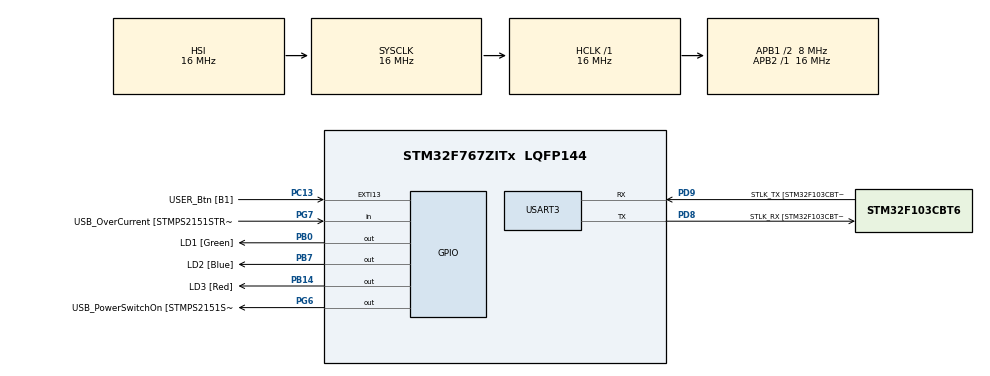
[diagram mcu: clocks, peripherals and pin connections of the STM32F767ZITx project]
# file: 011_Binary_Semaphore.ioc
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Mcu.Family=STM32F7
Mcu.Name=STM32F767ZITx
Mcu.Package=LQFP144
NVIC.PriorityGroup=NVIC_PRIORITYGROUP_4
NVIC.TIM6_DAC_IRQn=true\:15\:0\:false\:false\:true\:false\:true\:true
NVIC.TimeBase=TIM6_DAC_IRQn
NVIC.TimeBaseIP=TIM6
PA1.GPIO_Label=RMII_REF_CLK [LAN8742A-CZ-TR_REFCLK0]
PA1.Signal=ETH_REF_CLK
PA10.GPIO_Label=USB_ID
PA10.Signal=USB_OTG_FS_ID
PA11.GPIO_Label=USB_DM
PA11.Signal=USB_OTG_FS_DM
PA12.GPIO_Label=USB_DP
PA12.Signal=USB_OTG_FS_DP
PA13.GPIO_Label=TMS
PA13.Signal=SYS_JTMS-SWDIO
PA14.GPIO_Label=TCK
PA14.Signal=SYS_JTCK-SWCLK
PA2.GPIO_Label=RMII_MDIO [LAN8742A-CZ-TR_MDIO]
PA2.Signal=ETH_MDIO
PA7.GPIO_Label=RMII_CRS_DV [LAN8742A-CZ-TR_CRS_DV]
PA7.Signal=ETH_CRS_DV
PA8.GPIO_Label=USB_SOF [TP1]
PA8.Signal=USB_OTG_FS_SOF
PA9.GPIO_Label=USB_VBUS
PA9.Signal=USB_OTG_FS_VBUS
PB0.GPIO_Label=LD1 [Green]
PB0.Signal=GPIO_Output
PB13.GPIO_Label=RMII_TXD1 [LAN8742A-CZ-TR_TXD1]
PB13.Signal=ETH_TXD1
PB14.GPIO_Label=LD3 [Red]
PB14.Signal=GPIO_Output
PB3.GPIO_Label=SW0
PB3.Signal=SYS_JTDO-SWO
PB7.GPIO_Label=LD2 [Blue]
PB7.Signal=GPIO_Output
PC1.GPIO_Label=RMII_MDC [LAN8742A-CZ-TR_MDC]
PC1.Signal=ETH_MDC
PC13.GPIO_Label=USER_Btn [B1]
PC13.Signal=GPXTI13
PC14/OSC32_IN.Signal=RCC_OSC32_IN
PC15/OSC32_OUT.Signal=RCC_OSC32_OUT
PC4.GPIO_Label=RMII_RXD0 [LAN8742A-CZ-TR_RXD0]
PC4.Signal=ETH_RXD0
PC5.GPIO_Label=RMII_RXD1 [LAN8742A-CZ-TR_RXD1]
PC5.Signal=ETH_RXD1
PD8.GPIO_Label=STLK_RX [STM32F103CBT6_PA3]
PD8.Mode=Asynchronous
PD8.Signal=USART3_TX
PD9.GPIO_Label=STLK_TX [STM32F103CBT6_PA2]
PD9.Mode=Asynchronous
PD9.Signal=USART3_RX
PG11.GPIO_Label=RMII_TX_EN [LAN8742A-CZ-TR_TXEN]
PG11.Signal=ETH_TX_EN
PG13.GPIO_Label=RMII_TXD0 [LAN8742A-CZ-TR_TXD0]
PG13.Signal=ETH_TXD0
PG6.GPIO_Label=USB_PowerSwitchOn [STMPS2151STR_EN]
PG6.Signal=GPIO_Output
PG7.GPIO_Label=USB_OverCurrent [STMPS2151STR_FAULT]
PG7.Signal=GPIO_Input
PH0/OSC_IN.GPIO_Label=MCO [STM32F103CBT6_PA8]
PH0/OSC_IN.Signal=RCC_OSC_IN
PH1/OSC_OUT.Signal=RCC_OSC_OUT
ProjectManager.HeapSize=0x200
ProjectManager.StackSize=0x400
ProjectManager.TargetToolchain=STM32CubeIDE
RCC.48MHZClocksFreq_Value=24000000
RCC.AHBFreq_Value=16000000
RCC.APB1CLKDivider=RCC_HCLK_DIV2
RCC.APB1Freq_Value=8000000
RCC.APB1TimFreq_Value=16000000
RCC.APB2Freq_Value=16000000
RCC.APB2TimFreq_Value=16000000
RCC.CortexFreq_Value=16000000
RCC.HCLKFreq_Value=16000000
RCC.HSE_VALUE=16000000
RCC.HSI_VALUE=16000000
RCC.LSE_VALUE=32768
RCC.PLLMUL=RCC_PLL_MUL9
RCC.PRESCALERUSB=RCC_USBCLKSOURCE_PLL_DIV1_5
RCC.SYSCLKFreq_VALUE=16000000
RCC.SYSCLKSourceVirtual=RCC_SYSCLKSOURCE_PLLCLK
RCC.USBFreq_Value=96000000
RCC.VCOOutputFreq_Value=192000000
USART3.VirtualMode-Asynchronous=VM_ASYNC
VP_SYS_VS_tim6.Mode=TIM6
board=NUCLEO-F767ZI

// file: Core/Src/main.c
/* USER CODE BEGIN Header */
/**
 ******************************************************************************
 * @file           : main.c
 * @brief          : Main program body
 ******************************************************************************
 * @attention
 *
 * Copyright (c) 2025 STMicroelectronics.
 * All rights reserved.
 *
 * This software is licensed under terms that can be found in the LICENSE file
 * in the root directory of this software component.
 * If no LICENSE file comes with this software, it is provided AS-IS.
 *
 ******************************************************************************
 */
/* USER CODE END Header */
#include "main.h"

/* USER CODE BEGIN PD */
//global space for some variable
char usr_msg[250]={0};

/* USER CODE END PD */

UART_HandleTypeDef huart3;

void SystemClock_Config(void);
static void MX_GPIO_Init(void);
static void MX_USART3_UART_Init(void);

/* USER CODE BEGIN 0 */
TaskHandle_t xTaskHandleM=NULL;
TaskHandle_t xTaskHandleE=NULL;

static void vManagerTask( void *pvParameters );
static void vEmployeeTask( void *pvParameters );

void printmsg(char *msg);

/* Declare a variable of type xSemaphoreHandle.  This is used to reference the
semaphore that is used to synchronize both manager and employee task */
xSemaphoreHandle xWork;

/* this is the queue which manager uses to put the work ticket id */
xQueueHandle xWorkQueue;

/* USER CODE END 0 */

int main(void)
{

  /* MCU Configuration--------------------------------------------------------*/

  /* Reset of all peripherals, Initializes the Flash interface and the Systick. */
  HAL_Init();

  /* Configure the system clock */
  SystemClock_Config();

  /* Initialize all configured peripherals */
  MX_GPIO_Init();
  MX_USART3_UART_Init();
  /* USER CODE BEGIN 2 */
	sprintf(usr_msg,"Demo of Binary semaphore usage between 2 Tasks \r\n");
	printmsg(usr_msg);

	/* Before a semaphore is used it must be explicitly created.
	 * In this example a binary semaphore is created . */
	vSemaphoreCreateBinary( xWork );

	/* The queue is created to hold a maximum of 1 Element. */
	xWorkQueue = xQueue
			Create( 1, sizeof( unsigned int ) );

	/* Check the semaphore and queue was created successfully. */
	if( (xWork != NULL) && (xWorkQueue != NULL) )
	{

		/* Create the 'Manager' task.  This is the task that will be synchronized with the Employee task.  The Manager task is created with a high priority  */
		xTaskCreate( vManagerTask, "Manager", 500, NULL, 3, NULL );

		/* Create a employee task with less priority than manager */
		xTaskCreate( vEmployeeTask, "Employee", 500, NULL, 1, NULL );

		/* Start the scheduler so the created tasks start executing. */
		vTaskStartScheduler();
	}

	sprintf(usr_msg,"Queue/Sema create failed.. \r\n");
	printmsg(usr_msg);

  /* USER CODE END 2 */

  /* Infinite loop */
	while (1)
	{

	}
}

void SystemClock_Config(void)
{
  RCC_OscInitTypeDef RCC_OscInitStruct = {0};
  RCC_ClkInitTypeDef RCC_ClkInitStruct = {0};

  /** Configure the main internal regulator output voltage
  */
  __HAL_RCC_PWR_CLK_ENABLE();
  __HAL_PWR_VOLTAGESCALING_CONFIG(PWR_REGULATOR_VOLTAGE_SCALE3);

  /** Initializes the RCC Oscillators according to the specified parameters
  * in the RCC_OscInitTypeDef structure.
  */
  RCC_OscInitStruct.OscillatorType = RCC_OSCILLATORTYPE_HSI;
  RCC_OscInitStruct.HSIState = RCC_HSI_ON;
  RCC_OscInitStruct.HSICalibrationValue = RCC_HSICALIBRATION_DEFAULT;
  RCC_OscInitStruct.PLL.PLLState = RCC_PLL_NONE;
  if (HAL_RCC_OscConfig(&RCC_OscInitStruct) != HAL_OK)
  {
    Error_Handler();
  }

  /** Initializes the CPU, AHB and APB buses clocks
  */
  RCC_ClkInitStruct.ClockType = RCC_CLOCKTYPE_HCLK|RCC_CLOCKTYPE_SYSCLK
                              |RCC_CLOCKTYPE_PCLK1|RCC_CLOCKTYPE_PCLK2;
  RCC_ClkInitStruct.SYSCLKSource = RCC_SYSCLKSOURCE_HSI;
  RCC_ClkInitStruct.AHBCLKDivider = RCC_SYSCLK_DIV1;
  RCC_ClkInitStruct.APB1CLKDivider = RCC_HCLK_DIV2;
  RCC_ClkInitStruct.APB2CLKDivider = RCC_HCLK_DIV1;

  if (HAL_RCC_ClockConfig(&RCC_ClkInitStruct, FLASH_LATENCY_0) != HAL_OK)
  {
    Error_Handler();
  }
}

static void MX_USART3_UART_Init(void)
{

  huart3.Instance = USART3;
  huart3.Init.BaudRate = 115200;
  huart3.Init.WordLength = UART_WORDLENGTH_8B;
  huart3.Init.StopBits = UART_STOPBITS_1;
  huart3.Init.Parity = UART_PARITY_NONE;
  huart3.Init.Mode = UART_MODE_TX_RX;
  huart3.Init.HwFlowCtl = UART_HWCONTROL_NONE;
  huart3.Init.OverSampling = UART_OVERSAMPLING_16;
  huart3.Init.OneBitSampling = UART_ONE_BIT_SAMPLE_DISABLE;
  huart3.AdvancedInit.AdvFeatureInit = UART_ADVFEATURE_NO_INIT;
  if (HAL_UART_Init(&huart3) != HAL_OK)
  {
    Error_Handler();
  }

}

static void MX_GPIO_Init(void)
{
  GPIO_InitTypeDef GPIO_InitStruct = {0};

  /* GPIO Ports Clock Enable */
  __HAL_RCC_GPIOC_CLK_ENABLE();
  __HAL_RCC_GPIOH_CLK_ENABLE();
  __HAL_RCC_GPIOA_CLK_ENABLE();
  __HAL_RCC_GPIOB_CLK_ENABLE();
  __HAL_RCC_GPIOD_CLK_ENABLE();
  __HAL_RCC_GPIOG_CLK_ENABLE();

  /*Configure GPIO pin Output Level */
  HAL_GPIO_WritePin(GPIOB, LD1_Pin|LD3_Pin|LD2_Pin, GPIO_PIN_RESET);

  /*Configure GPIO pin Output Level */
  HAL_GPIO_WritePin(USB_PowerSwitchOn_GPIO_Port, USB_PowerSwitchOn_Pin, GPIO_PIN_RESET);

  /*Configure GPIO pin : USER_Btn_Pin */
  GPIO_InitStruct.Pin = USER_Btn_Pin;
  GPIO_InitStruct.Mode = GPIO_MODE_IT_RISING;
  GPIO_InitStruct.Pull = GPIO_NOPULL;
  HAL_GPIO_Init(USER_Btn_GPIO_Port, &GPIO_InitStruct);

  /*Configure GPIO pins : RMII_MDC_Pin RMII_RXD0_Pin RMII_RXD1_Pin */
  GPIO_InitStruct.Pin = RMII_MDC_Pin|RMII_RXD0_Pin|RMII_RXD1_Pin;
  GPIO_InitStruct.Mode = GPIO_MODE_AF_PP;
  GPIO_InitStruct.Pull = GPIO_NOPULL;
  GPIO_InitStruct.Speed = GPIO_SPEED_FREQ_VERY_HIGH;
  GPIO_InitStruct.Alternate = GPIO_AF11_ETH;
  HAL_GPIO_Init(GPIOC, &GPIO_InitStruct);

  /*Configure GPIO pins : RMII_REF_CLK_Pin RMII_MDIO_Pin RMII_CRS_DV_Pin */
  GPIO_InitStruct.Pin = RMII_REF_CLK_Pin|RMII_MDIO_Pin|RMII_CRS_DV_Pin;
  GPIO_InitStruct.Mode = GPIO_MODE_AF_PP;
  GPIO_InitStruct.Pull = GPIO_NOPULL;
  GPIO_InitStruct.Speed = GPIO_SPEED_FREQ_VERY_HIGH;
  GPIO_InitStruct.Alternate = GPIO_AF11_ETH;
  HAL_GPIO_Init(GPIOA, &GPIO_InitStruct);

  /*Configure GPIO pins : LD1_Pin LD3_Pin LD2_Pin */
  GPIO_InitStruct.Pin = LD1_Pin|LD3_Pin|LD2_Pin;
  GPIO_InitStruct.Mode = GPIO_MODE_OUTPUT_PP;
  GPIO_InitStruct.Pull = GPIO_NOPULL;
  GPIO_InitStruct.Speed = GPIO_SPEED_FREQ_LOW;
  HAL_GPIO_Init(GPIOB, &GPIO_InitStruct);

  /*Configure GPIO pin : RMII_TXD1_Pin */
  GPIO_InitStruct.Pin = RMII_TXD1_Pin;
  GPIO_InitStruct.Mode = GPIO_MODE_AF_PP;
  GPIO_InitStruct.Pull = GPIO_NOPULL;
  GPIO_InitStruct.Speed = GPIO_SPEED_FREQ_VERY_HIGH;
  GPIO_InitStruct.Alternate = GPIO_AF11_ETH;
  HAL_GPIO_Init(RMII_TXD1_GPIO_Port, &GPIO_InitStruct);

  /*Configure GPIO pin : USB_PowerSwitchOn_Pin */
  GPIO_InitStruct.Pin = USB_PowerSwitchOn_Pin;
  GPIO_InitStruct.Mode = GPIO_MODE_OUTPUT_PP;
  GPIO_InitStruct.Pull = GPIO_NOPULL;
  GPIO_InitStruct.Speed = GPIO_SPEED_FREQ_LOW;
  HAL_GPIO_Init(USB_PowerSwitchOn_GPIO_Port, &GPIO_InitStruct);

  /*Configure GPIO pin : USB_OverCurrent_Pin */
  GPIO_InitStruct.Pin = USB_OverCurrent_Pin;
  GPIO_InitStruct.Mode = GPIO_MODE_INPUT;
  GPIO_InitStruct.Pull = GPIO_NOPULL;
  HAL_GPIO_Init(USB_OverCurrent_GPIO_Port, &GPIO_InitStruct);

  /*Configure GPIO pins : USB_SOF_Pin USB_ID_Pin USB_DM_Pin USB_DP_Pin */
  GPIO_InitStruct.Pin = USB_SOF_Pin|USB_ID_Pin|USB_DM_Pin|USB_DP_Pin;
  GPIO_InitStruct.Mode = GPIO_MODE_AF_PP;
  GPIO_InitStruct.Pull = GPIO_NOPULL;
  GPIO_InitStruct.Speed = GPIO_SPEED_FREQ_VERY_HIGH;
  GPIO_InitStruct.Alternate = GPIO_AF10_OTG_FS;
  HAL_GPIO_Init(GPIOA, &GPIO_InitStruct);

  /*Configure GPIO pin : USB_VBUS_Pin */
  GPIO_InitStruct.Pin = USB_VBUS_Pin;
  GPIO_InitStruct.Mode = GPIO_MODE_INPUT;
  GPIO_InitStruct.Pull = GPIO_NOPULL;
  HAL_GPIO_Init(USB_VBUS_GPIO_Port, &GPIO_InitStruct);

  /*Configure GPIO pins : RMII_TX_EN_Pin RMII_TXD0_Pin */
  GPIO_InitStruct.Pin = RMII_TX_EN_Pin|RMII_TXD0_Pin;
  GPIO_InitStruct.Mode = GPIO_MODE_AF_PP;
  GPIO_InitStruct.Pull = GPIO_NOPULL;
  GPIO_InitStruct.Speed = GPIO_SPEED_FREQ_VERY_HIGH;
  GPIO_InitStruct.Alternate = GPIO_AF11_ETH;
  HAL_GPIO_Init(GPIOG, &GPIO_InitStruct);

}

/* USER CODE BEGIN 4 */
void vManagerTask( void *pvParameters )
{

	 unsigned int xWorkTicketId;
	 portBASE_TYPE xStatus;

    /* The semaphore is created in the 'empty' state, meaning the semaphore must
	 first be given using the xSemaphoreGive() API function before it
	 can subsequently be taken (obtained) */
    xSemaphoreGive( xWork);

    for( ;; )
    {
        /* get a work ticket id(some random number) */
        xWorkTicketId = ( rand() & 0x1FF );

		/* Sends work ticket id to the work queue */
		xStatus = xQueueSend( xWorkQueue, &xWorkTicketId , portMAX_DELAY ); //Post an item on back of the queue

		if( xStatus != pdPASS )
		{
			sprintf(usr_msg,"Could not send to the queue.\r\n");
		    printmsg(usr_msg);

		}else
		{
			/* Manager notifying the employee by "Giving" semaphore */
			xSemaphoreGive( xWork);
			/* after assigning the work , just yield the processor because nothing to do */
			taskYIELD();

		}
    }
}

void EmployeeDoWork(unsigned char TicketId)
{
	/* implement the work according to TickedID */
	sprintf(usr_msg,"Employee task : Working on Ticked id : %d\r\n",TicketId);
	printmsg(usr_msg);
	vTaskDelay(TicketId);
}

static void vEmployeeTask( void *pvParameters )
{

	unsigned char xWorkTicketId;
	portBASE_TYPE xStatus;
    /* As per most tasks, this task is implemented within an infinite loop. */
    for( ;; )
    {
		/* First Employee tries to take the semaphore, if it is available that means there is a task assigned by manager, otherwise employee task will be blocked */
		xSemaphoreTake( xWork, 0 );

		/* get the ticket id from the work queue */
		xStatus = xQueueReceive( xWorkQueue, &xWorkTicketId, 0 );

		if( xStatus == pdPASS )
		{
		  /* employee may decode the xWorkTicketId in this function to do the work*/
			EmployeeDoWork(xWorkTicketId);
		}
		else
		{
			/* We did not receive anything from the queue.  This must be an error as this task should only run when the manager assigns at least one work. */
			sprintf(usr_msg,"Employee task : Queue is empty , nothing to do.\r\n");
		    printmsg(usr_msg);
		}
    }
}

void printmsg(char *msg)
{
		HAL_UART_Transmit(&huart3, (uint8_t *)msg, strlen(msg), HAL_MAX_DELAY);
}

/* USER CODE END 4 */

void HAL_TIM_PeriodElapsedCallback(TIM_HandleTypeDef *htim)
{
  if (htim->Instance == TIM6) {
    HAL_IncTick();
  }
}

void Error_Handler(void)
{
	__disable_irq();
	while (1)
	{
	}
}
